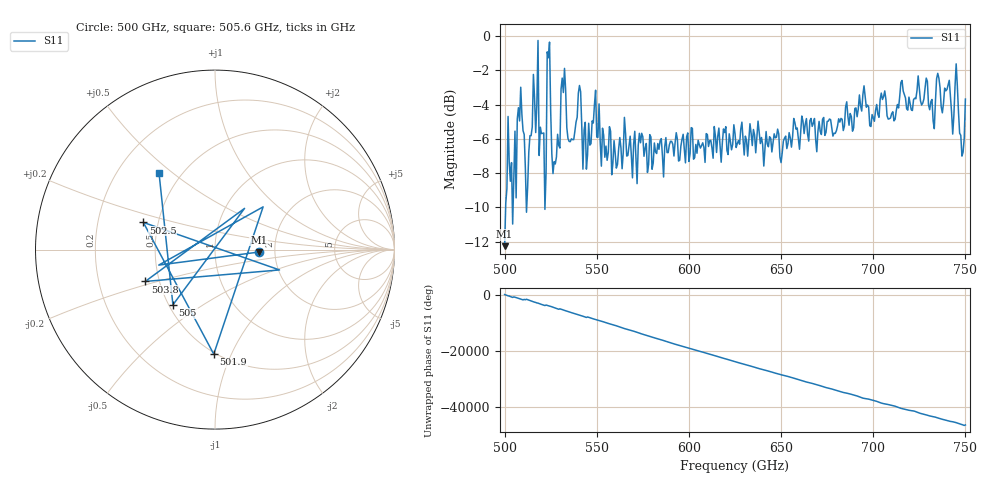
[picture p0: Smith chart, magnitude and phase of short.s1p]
!Created with skrf (http://scikit-rf.org).
# GHz S RI R 50.0
!freq ReS11 ImS11
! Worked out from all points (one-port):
!   401 points, 500 GHz to 750 GHz, reference 50 ohm
!   lowest |S11| = -12.3 dB at 500 GHz (marker M1), VSWR 1.64, Z = 82.1 - j2.41 ohm
!   |S11| at or under -10 dB: start of sweep to 500.5652 GHz; 504.2049 GHz to 504.5989 GHz (394 MHz wide, 0.0781 % of centre); 511.8066 GHz to 511.9958 GHz (189.2 MHz wide, 0.037 % of centre) (the widest 3 of 4)
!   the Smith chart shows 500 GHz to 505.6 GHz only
!   S11 on the Smith chart (normalised r, x): 500 GHz: 1.64, -0.05; 501.9 GHz: 0.49, -0.86; 502.5 GHz: 0.41, +0.15; 503.8 GHz: 0.42, -0.18; 505 GHz: 0.53, -0.38; 505.6 GHz: 0.38, +0.45
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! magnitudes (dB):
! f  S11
! 500 GHz  -12.3
! 501.9 GHz  -4.7
! 502.5 GHz  -7.4
! 503.8 GHz  -7.4
! 505 GHz  -8.3
! 505.6 GHz  -5.6
! 508.1 GHz  -5.0
! 512.5 GHz  -8.8
! 516.9 GHz  -5.6
! 521.2 GHz  -5.7
! 524.4 GHz  -0.4
! 526.9 GHz  -7.3
! 531.2 GHz  -2.5
! 535.6 GHz  -6.2
! 540 GHz  -3.3
! 543.8 GHz  -5.0
! 550 GHz  -5.9
! 562.5 GHz  -5.9
! 593.8 GHz  -6.0
! 625 GHz  -5.7
! 656.2 GHz  -5.9
! 687.5 GHz  -4.5
! 718.8 GHz  -4.3
! 731.9 GHz  -3.7
! 735 GHz  -2.2
! 745 GHz  -1.6
! 748.1 GHz  -7.0
! 750 GHz  -3.7
